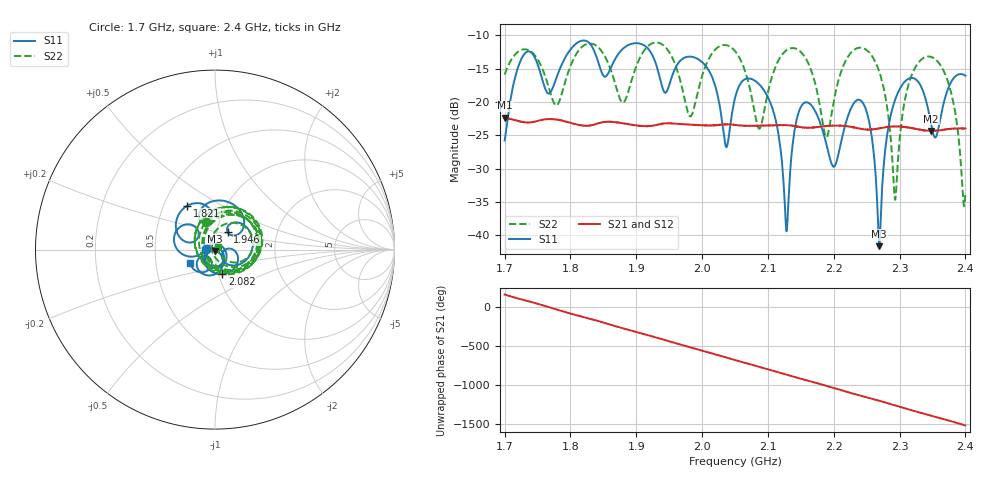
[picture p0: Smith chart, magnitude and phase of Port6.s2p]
# Hz S RI R 50
! CMT, CMT808U, 21440046, 21.4.3/4
! Date: 9/9/2026 12:51:25 AM
! Data: Format (Calibration Info)
! Freq	S11:Re/Im(F2)	S41:Re/Im(F2)	S14:Re/Im(F2)	S44:Re/Im(F2)
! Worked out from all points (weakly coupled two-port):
!   3001 points, 1.7 GHz to 2.4 GHz, reference 50 ohm
!   highest |S21| = -22.38 dB at 1.701 GHz (marker M1); lowest = -24.4 dB at 2.348 GHz (marker M2)
!   lowest |S11| = -41.6 dB at 2.269 GHz (marker M3), VSWR 1.02, Z = 49.8 - j0.81 ohm
!   |S11| at or under -10 dB: start of sweep to end of sweep
!   |S22| runs from -35.7 to -11.1 dB; largest |S21 - S12| = 0.0011
!   S11 on the Smith chart (normalised r, x): 1.7 GHz: 0.90, +0.00; 1.821 GHz: 0.66, +0.35; 1.946 GHz: 1.13, +0.22; 2.082 GHz: 1.05, -0.29; 2.4 GHz: 0.75, -0.11
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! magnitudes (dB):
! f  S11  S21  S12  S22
! 1.7 GHz  -25.8  -22.4  -22.4  -15.9
! 1.701 GHz  -25.4  -22.4  -22.4  -15.7
! 1.73 GHz  -12.8  -23.1  -23.1  -12.1
! 1.779 GHz  -16.4  -22.6  -22.7  -20.5
! 1.817 GHz  -10.8  -23.5  -23.5  -11.8
! 1.821 GHz  -10.8  -23.6  -23.6  -11.5
! 1.88 GHz  -12.0  -23.2  -23.2  -20.1
! 1.934 GHz  -15.5  -23.4  -23.4  -11.1
! 1.946 GHz  -18.4  -23.2  -23.2  -12.0
! 1.982 GHz  -13.2  -23.4  -23.4  -22.2
! 2.05 GHz  -19.4  -23.4  -23.4  -12.4
! 2.082 GHz  -16.9  -23.6  -23.6  -22.4
! 2.128 GHz  -39.4  -23.5  -23.5  -12.2
! 2.167 GHz  -20.6  -23.8  -23.9  -15.5
! 2.189 GHz  -26.5  -23.6  -23.6  -25.3
! 2.245 GHz  -20.3  -24.1  -24.1  -12.0
! 2.269 GHz  -41.6  -24.0  -24.0  -15.5
! 2.284 GHz  -23.5  -23.7  -23.7  -22.6
! 2.294 GHz  -19.6  -23.7  -23.7  -34.6
! 2.313 GHz  -16.5  -23.8  -23.8  -17.5
! 2.348 GHz  -23.5  -24.4  -24.3  -13.2
! 2.4 GHz  -16.1  -24.0  -24.0  -33.8
